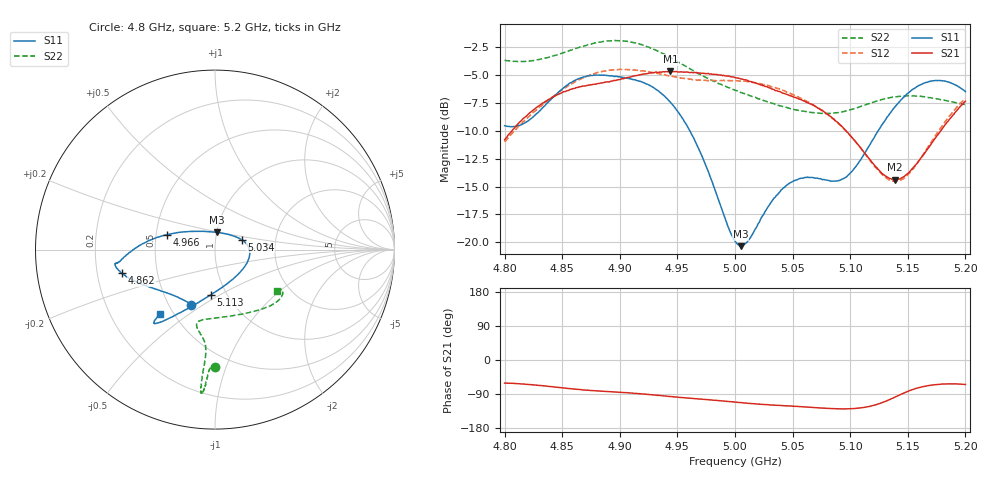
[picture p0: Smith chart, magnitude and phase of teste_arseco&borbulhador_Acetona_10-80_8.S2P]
! Network Analyzer HP8722D
! Hewlett-Packard
! Data name: Linha & Wilkinson
! Saver's name: Rodrigo Anjos
! Comments: Teste da utilização de aquisição
! continua pelo VNA HP8722D
! Time and date: 17/4/2025 14:25
!  Frequency  S11  S21  S12  S22
# HZ  S  MA R 50
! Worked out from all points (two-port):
!   401 points, 4.8 GHz to 5.2 GHz, reference 50 ohm
!   highest |S21| = -4.67 dB at 4.944 GHz (marker M1); lowest = -14.4 dB at 5.139 GHz (marker M2)
!   |S21| within 3 dB of the highest: 4.831 GHz to 5.067 GHz (236.2 MHz wide, 4.77 % of centre); 5.196954 GHz to end of sweep
!   lowest |S11| = -20.3 dB at 5.005 GHz (marker M3), VSWR 1.21, Z = 50.1 + j9.66 ohm
!   |S11| at or under -10 dB: 4.961 GHz to 5.124 GHz (163.4 MHz wide, 3.24 % of centre)
!   |S22| runs from -8.4 to -1.9 dB; largest |S21 - S12| = 0.87
!   S11 on the Smith chart (normalised r, x): 4.8 GHz: 0.65, -0.44; 4.862 GHz: 0.31, -0.11; 4.966 GHz: 0.57, +0.10; 5.034 GHz: 1.34, +0.15; 5.113 GHz: 0.84, -0.45; 5.2 GHz: 0.42, -0.39
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4.8e9  0.3336 -113.4  0.2886 -61.0  0.2823 -175.1  0.6556 -90.1
4.819e9  0.3471 -133.4  0.369 -64.1  0.3575 -173.6  0.6505 -91.6
4.862e9  0.5356 -165.8  0.4942 -77.2  0.5285 -177.0  0.7421 -93.9
4.867e9  0.548 -167.7  0.5008 -78.6  0.5432 -177.8  0.7569 -93.9
4.9e9  0.553 -172.2  0.5372 -85.3  0.5974 175.4  0.8024 -95.4
4.934e9  0.4754 -178.1  0.5793 -93.4  0.5717 171.7  0.7167 -95.7
4.944e9  0.4254 177.2  0.5844 -96.3  0.5565 171.8  0.6753 -95.5
4.966e9  0.2802 162.8  0.5768 -102.2  0.536 173.7  0.5807 -95.0
5e9  0.1014 101.6  0.5483 -111.2  0.5329 176.1  0.4815 -99.2
5.005e9  0.09607 84.1  0.5405 -112.5  0.529 176.1  0.4697 -100.4
5.012e9  0.1024 61.1  0.5283 -114.3  0.5247 175.8  0.4574 -101.8
5.034e9  0.158 20.7  0.4843 -119.2  0.4969 174.9  0.4183 -103.6
5.049e9  0.1859 5.5  0.4534 -121.4  0.4628 174.1  0.3968 -100.0
5.067e9  0.1954 -13.8  0.4142 -125.0  0.4162 173.6  0.3822 -90.9
5.093e9  0.1922 -57.9  0.3302 -128.9  0.3287 173.9  0.3848 -70.7
5.113e9  0.2533 -95.4  0.2498 -124.7  0.2494 179.9  0.4132 -55.1
5.134e9  0.3762 -116.4  0.1937 -104.5  0.1903 -157.6  0.4448 -43.0
5.139e9  0.4065 -119.5  0.1911 -97.7  0.1876 -149.7  0.4494 -40.8
5.151e9  0.4705 -124.5  0.2057 -81.7  0.2033 -131.2  0.4545 -36.4
5.17e9  0.5284 -128.9  0.275 -66.4  0.28 -112.6  0.4454 -32.0
5.185e9  0.5242 -130.3  0.3493 -63.2  0.3618 -107.2  0.4307 -31.0
5.2e9  0.4744 -130.6  0.4294 -64.4  0.4418 -106.5  0.415 -33.3
